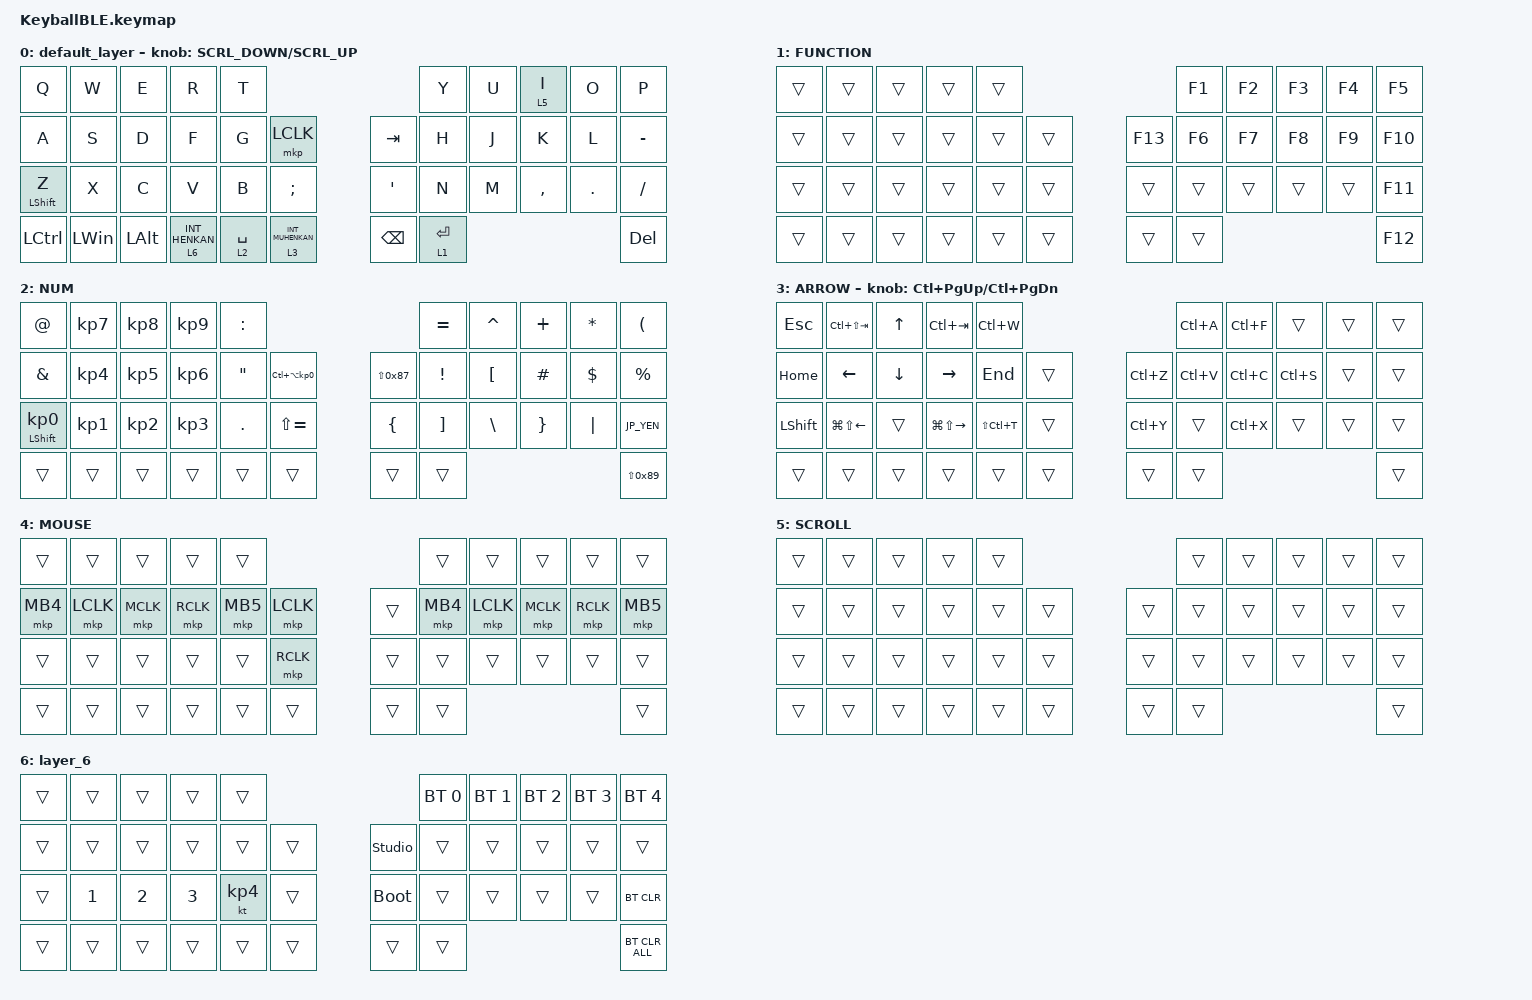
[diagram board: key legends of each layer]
#define ZMK_POINTING_DEFAULT_SCRL_VAL 120    // default: 10

#include <behaviors.dtsi>
#include <dt-bindings/zmk/bt.h>
#include <dt-bindings/zmk/keys.h>
#include <dt-bindings/zmk/pointing.h>

// OS設定を日本語キーボードのまま使用するための変換定義

#define JP_DQUOTE       AT                // "
#define JP_AMPERSAND    CARET             // &
#define JP_QUOTE        AMPERSAND         // '
#define JP_EQUAL        UNDER             // =
#define JP_CARET        EQUAL             // ^
#define JP_YEN          0x89              // ¥
#define JP_PLUS         COLON             // +
#define JP_TILDE        PLUS              // ~
#define JP_PIPE         LS(0x89)          // |
#define JP_AT           LEFT_BRACKET      // @
#define JP_COLON        SINGLE_QUOTE      // :
#define JP_ASTERISK     DOUBLE_QUOTES     // *
#define JP_BACKQUOTE    LEFT_BRACE        // `
#define JP_UNDERSCORE   LS(0x87)          // _
#define JP_LBRACKET     RIGHT_BRACKET     // [
#define JP_RBRACKET     BACKSLASH         // ]
#define JP_LPAREN       ASTERISK          // (
#define JP_RPAREN       LEFT_PARENTHESIS  // )
#define JP_LBRACE       RIGHT_BRACE       // {
#define JP_RBRACE       PIPE              // }
#define JP_KANA         LANGUAGE_1        // かな
#define JP_EISU         LANGUAGE_2        // 英数
#define JP_HANZEN       GRAVE             // 半角/全角
#define MOUSE 4
#define SCROLL 5
#define NUM 6

&mt {
    flavor = "balanced";
    quick-tap-ms = <0>;
};

/ {
    combos {
        compatible = "zmk,combos";

        double_quotation {
            bindings = <&kp JP_DQUOTE>;
            key-positions = <20 21>;
        };
    };

    macros {
        to_layer_0: to_layer_0 {
            compatible = "zmk,behavior-macro-one-param";
            #binding-cells = <1>;
            bindings = <&to 0 &macro_param_1to1 &kp MACRO_PLACEHOLDER>;
            label = "TO_LAYER_0";
        };
    };

    behaviors {
        lt_to_layer_0: lt_to_layer_0 {
            compatible = "zmk,behavior-hold-tap";
            label = "LAYER_TAP_TO_0";
            bindings = <&mo>, <&to_layer_0>;

            #binding-cells = <2>;
            tapping-term-ms = <200>;
        };

        ROTATE: ROTATE {
            compatible = "zmk,behavior-sensor-rotate-var";
            label = "ROTATE";
            #sensor-binding-cells = <2>;
            bindings = <&msc>, <&msc>;

            tap-ms = <20>;
        };
    };

    keymap {
        compatible = "zmk,keymap";

        default_layer {
            bindings = <
&kp Q             &kp W         &kp E         &kp R                        &kp T                                                          &kp Y        &kp U  &lt 5 I    &kp O    &kp P
&kp A             &kp S         &kp D         &kp F                        &kp G        &mkp LCLK                          &kp TAB        &kp H        &kp J  &kp K      &kp L    &kp MINUS
&mt LEFT_SHIFT Z  &kp X         &kp C         &kp V                        &kp B        &kp SEMICOLON                      &kp SQT        &kp N        &kp M  &kp COMMA  &kp DOT  &kp SLASH
&kp LCTRL         &kp LEFT_WIN  &kp LEFT_ALT  &lt_to_layer_0 6 INT_HENKAN  &lt 2 SPACE  &lt_to_layer_0 3 INT_MUHENKAN      &kp BACKSPACE  &lt 1 ENTER                             &kp DEL
            >;

            sensor-bindings = <&ROTATE SCRL_DOWN SCRL_UP>;
        };

        FUNCTION {
            bindings = <
&trans  &trans  &trans  &trans  &trans                       &kp F1  &kp F2  &kp F3  &kp F4  &kp F5
&trans  &trans  &trans  &trans  &trans  &trans      &kp F13  &kp F6  &kp F7  &kp F8  &kp F9  &kp F10
&trans  &trans  &trans  &trans  &trans  &trans      &trans   &trans  &trans  &trans  &trans  &kp F11
&trans  &trans  &trans  &trans  &trans  &trans      &trans   &trans                          &kp F12
            >;
        };

        NUM {
            bindings = <
&kp AT                      &kp KP_NUMBER_7  &kp KP_NUMBER_8  &kp KP_NUMBER_9  &kp JP_PLUS                                                      &kp JP_CARET     &kp JP_AMPERSAND  &kp JP_TILDE   &kp JP_LPAREN  &kp JP_RPAREN
&kp AMPERSAND               &kp KP_NUMBER_4  &kp KP_NUMBER_5  &kp KP_NUMBER_6  &kp JP_ASTERISK  &kp LC(LA(KP_NUMBER_0))      &kp JP_UNDERSCORE  &kp EXCLAMATION  &kp JP_AT         &kp HASH       &kp DOLLAR     &kp PERCENT
&mt LEFT_SHIFT KP_NUMBER_0  &kp KP_NUMBER_1  &kp KP_NUMBER_2  &kp KP_NUMBER_3  &kp PERIOD       &kp LS(EQUAL)                &kp LEFT_BRACE     &kp JP_LBRACKET  &kp JP_RBRACKET   &kp JP_LBRACE  &kp JP_RBRACE  &kp JP_YEN
&trans                      &trans           &trans           &trans           &trans           &trans                       &trans             &trans                                                           &kp JP_PIPE
            >;
        };

        ARROW {
            bindings = <
&kp ESCAPE      &kp LC(LS(TAB))         &kp UP_ARROW    &kp LC(TAB)              &kp LC(W)                             &kp LC(A)  &kp LC(F)  &trans     &trans  &trans
&kp HOME        &kp LEFT_ARROW          &kp DOWN_ARROW  &kp RIGHT_ARROW          &kp END        &trans      &kp LC(Z)  &kp LC(V)  &kp LC(C)  &kp LC(S)  &trans  &trans
&kp LEFT_SHIFT  &kp LG(LS(LEFT_ARROW))  &trans          &kp LG(LS(RIGHT_ARROW))  &kp LS(LC(T))  &trans      &kp LC(Y)  &trans     &kp LC(X)  &trans     &trans  &trans
&trans          &trans                  &trans          &trans                   &trans         &trans      &trans     &trans                                   &trans
            >;

            sensor-bindings = <&inc_dec_kp LC(PAGE_UP) LC(PAGE_DOWN)>;
        };

        MOUSE {
            bindings = <
&trans    &trans     &trans     &trans     &trans                           &trans    &trans     &trans     &trans     &trans
&mkp MB4  &mkp LCLK  &mkp MCLK  &mkp RCLK  &mkp MB5  &mkp LCLK      &trans  &mkp MB4  &mkp LCLK  &mkp MCLK  &mkp RCLK  &mkp MB5
&trans    &trans     &trans     &trans     &trans    &mkp RCLK      &trans  &trans    &trans     &trans     &trans     &trans
&trans    &trans     &trans     &trans     &trans    &trans         &trans  &trans                                     &trans
            >;
        };

        SCROLL {
            bindings = <
&trans  &trans  &trans  &trans  &trans                      &trans  &trans  &trans  &trans  &trans
&trans  &trans  &trans  &trans  &trans  &trans      &trans  &trans  &trans  &trans  &trans  &trans
&trans  &trans  &trans  &trans  &trans  &trans      &trans  &trans  &trans  &trans  &trans  &trans
&trans  &trans  &trans  &trans  &trans  &trans      &trans  &trans                          &trans
            >;
        };

        layer_6 {
            bindings = <
&trans  &trans        &trans        &trans        &trans                                 &bt BT_SEL 0  &bt BT_SEL 1  &bt BT_SEL 2  &bt BT_SEL 3  &bt BT_SEL 4
&trans  &trans        &trans        &trans        &trans     &trans      &studio_unlock  &trans        &trans        &trans        &trans        &trans
&trans  &kp NUMBER_1  &kp NUMBER_2  &kp NUMBER_3  &kt KP_N4  &trans      &bootloader     &trans        &trans        &trans        &trans        &bt BT_CLR
&trans  &trans        &trans        &trans        &trans     &trans      &trans          &trans                                                  &bt BT_CLR_ALL
            >;
        };
    };
};
